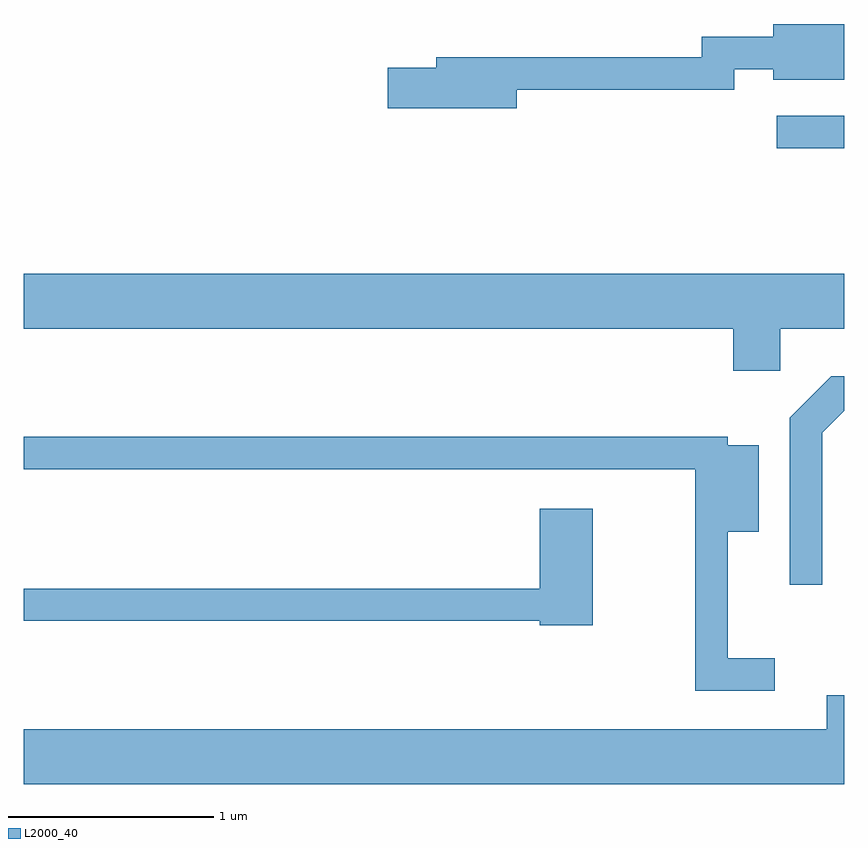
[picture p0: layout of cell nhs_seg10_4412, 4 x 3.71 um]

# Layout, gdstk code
import gdstk
lib = gdstk.Library(unit=1e-6, precision=1e-09)
def R(c, l, rs):  # rectangles x0, y0, x1, y1
    for r in rs: c.add(gdstk.rectangle(r[:2], r[2:], *l))
def P(c, l, *ps):  # polygons
    for p in ps: c.add(gdstk.Polygon(p, *l))
L2000_40 = (2000, 40)

nhs_seg10_4412 = lib.new_cell('nhs_seg10_4412')
R(nhs_seg10_4412, L2000_40, [(319.283,2105.916,319.611,2106.074)])
P(nhs_seg10_4412, L2000_40, [(318.014,2106.201),(319.074,2106.201),(319.074,2106.301),(319.266,2106.301),(319.266,2106.251),(319.611,2106.251),(319.611,2106.522),(319.266,2106.522),(319.266,2106.459),(318.916,2106.459),(318.916,2106.359),(317.621,2106.359),(317.621,2106.309),(317.386,2106.309),(317.386,2106.111),(318.014,2106.111)],
  [(319.299,2105.036),(319.611,2105.036),(319.611,2105.304),(315.611,2105.304),(315.611,2105.036),(319.071,2105.036),(319.071,2104.831),(319.299,2104.831)],
  [(319.504,2104.529),(319.611,2104.635),(319.611,2104.804),(319.549,2104.804),(319.346,2104.602),(319.346,2103.788),(319.504,2103.788)],
  [(319.273,2103.429),(319.044,2103.429),(319.044,2104.046),(319.194,2104.046),(319.194,2104.469),(319.044,2104.469),(319.044,2104.509),(315.611,2104.509),(315.611,2104.351),(318.886,2104.351),(318.886,2103.271),(319.273,2103.271)],
  [(318.384,2104.159),(318.126,2104.159),(318.126,2103.769),(315.611,2103.769),(315.611,2103.611),(318.126,2103.611),(318.126,2103.591),(318.384,2103.591)],
  [(319.611,2103.249),(319.526,2103.249),(319.526,2103.084),(315.611,2103.084),(315.611,2102.816),(319.611,2102.816)])

lib.write_gds('nhs_seg10_4412.gds')
